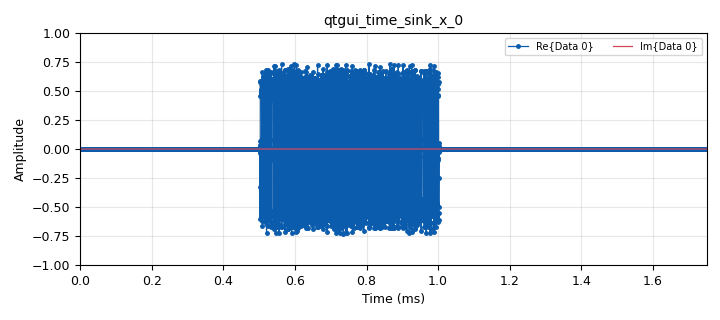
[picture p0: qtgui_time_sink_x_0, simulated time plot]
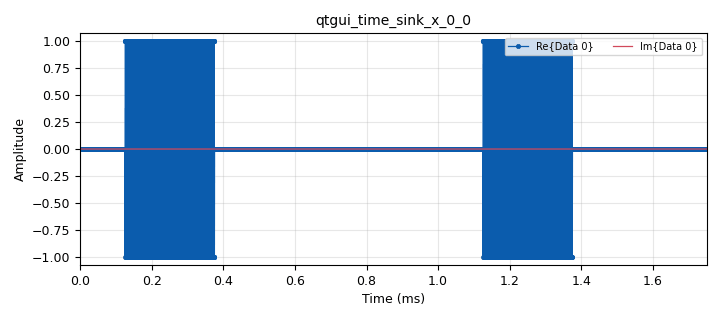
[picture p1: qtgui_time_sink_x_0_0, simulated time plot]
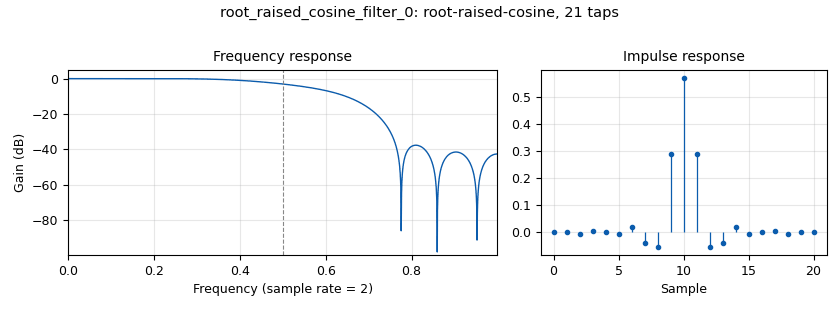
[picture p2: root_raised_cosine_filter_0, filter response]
<?xml version='1.0' encoding='utf-8'?>
<?grc format='1' created='3.7.13'?>
<flow_graph>
<block>
<key>options</key>
<param><key>id</key><value>tx_1n</value></param>
<param><key>generate_options</key><value>qt_gui</value></param>
<param><key>run_options</key><value>run</value></param>
</block>
<block>
<key>variable</key>
<param><key>id</key><value>center_freq</value></param>
<param><key>value</key><value>2.35e9</value></param>
</block>
<block>
<key>variable</key>
<param><key>id</key><value>num_prn</value></param>
<param><key>value</key><value>1000</value></param>
</block>
<block>
<key>variable</key>
<param><key>id</key><value>num_zeros</value></param>
<param><key>value</key><value>3000</value></param>
</block>
<block>
<key>variable</key>
<param><key>id</key><value>roll_off</value></param>
<param><key>value</key><value>0.5</value></param>
</block>
<block>
<key>variable</key>
<param><key>id</key><value>samp_rate</value></param>
<param><key>value</key><value>200e6/50</value></param>
</block>
<block>
<key>variable</key>
<param><key>id</key><value>span</value></param>
<param><key>value</key><value>10</value></param>
</block>
<block>
<key>variable</key>
<param><key>id</key><value>sps</value></param>
<param><key>value</key><value>2</value></param>
</block>
<block>
<key>variable_qtgui_range</key>
<param><key>id</key><value>tx_gain</value></param>
<param><key>value</key><value>10</value></param>
<param><key>label</key><value>Gain</value></param>
<param><key>orient</key><value>Qt.Horizontal</value></param>
<param><key>start</key><value>0</value></param>
<param><key>step</key><value>1</value></param>
<param><key>stop</key><value>31</value></param>
</block>
<block>
<key>variable</key>
<param><key>id</key><value>tx_gain</value></param>
<param><key>_enabled</key><value>0</value></param>
<param><key>value</key><value>25</value></param>
</block>
<block>
<key>blocks_vector_source_x</key>
<param><key>id</key><value>blocks_vector_source_x_0</value></param>
<param><key>type</key><value>complex</value></param>
<param><key>repeat</key><value>True</value></param>
<param><key>vector</key><value>list(np.zeros(int(num_zeros/2)))+list(2*np.random.randint(0,2,size=num_prn)-1)+list(np.zeros(int(num_zeros/2)))</value></param>
</block>
<block>
<key>import</key>
<param><key>id</key><value>import_0</value></param>
<param><key>import</key><value>import numpy as np</value></param>
</block>
<block>
<key>qtgui_time_sink_x</key>
<param><key>id</key><value>qtgui_time_sink_x_0</value></param>
<param><key>color1</key><value>"blue"</value></param>
<param><key>label1</key><value></value></param>
<param><key>marker1</key><value>0</value></param>
<param><key>color2</key><value>"red"</value></param>
<param><key>label2</key><value></value></param>
<param><key>size</key><value>2*num_zeros+num_prn</value></param>
<param><key>srate</key><value>samp_rate</value></param>
<param><key>type</key><value>complex</value></param>
</block>
<block>
<key>qtgui_time_sink_x</key>
<param><key>id</key><value>qtgui_time_sink_x_0_0</value></param>
<param><key>color1</key><value>"blue"</value></param>
<param><key>label1</key><value></value></param>
<param><key>marker1</key><value>0</value></param>
<param><key>color2</key><value>"red"</value></param>
<param><key>label2</key><value></value></param>
<param><key>size</key><value>2*num_zeros+num_prn</value></param>
<param><key>srate</key><value>samp_rate</value></param>
<param><key>type</key><value>complex</value></param>
</block>
<block>
<key>root_raised_cosine_filter</key>
<param><key>id</key><value>root_raised_cosine_filter_0</value></param>
<param><key>alpha</key><value>roll_off</value></param>
<param><key>type</key><value>interp_fir_filter_ccf</value></param>
<param><key>gain</key><value>1</value></param>
<param><key>interp</key><value>sps</value></param>
<param><key>ntaps</key><value>sps*span</value></param>
<param><key>samp_rate</key><value>sps</value></param>
<param><key>sym_rate</key><value>1</value></param>
</block>
<block>
<key>uhd_usrp_sink</key>
<param><key>id</key><value>uhd_usrp_sink_0</value></param>
<param><key>ant0</key><value>TX/RX</value></param>
<param><key>center_freq0</key><value>center_freq</value></param>
<param><key>norm_gain0</key><value>False</value></param>
<param><key>gain0</key><value>tx_gain</value></param>
<param><key>clock_rate</key><value>0.0</value></param>
<param><key>dev_addr</key><value>"addr0=192.168.13.2"</value></param>
<param><key>dev_args</key><value>""</value></param>
<param><key>type</key><value>fc32</value></param>
<param><key>samp_rate</key><value>samp_rate</value></param>
<param><key>hide_cmd_port</key><value>False</value></param>
<param><key>hide_lo_controls</key><value>True</value></param>
<param><key>sync</key><value></value></param>
<param><key>len_tag_name</key><value></value></param>
</block>
<connection><source_block_id>blocks_vector_source_x_0</source_block_id><sink_block_id>qtgui_time_sink_x_0_0</sink_block_id><source_key>0</source_key><sink_key>0</sink_key></connection>
<connection><source_block_id>blocks_vector_source_x_0</source_block_id><sink_block_id>root_raised_cosine_filter_0</sink_block_id><source_key>0</source_key><sink_key>0</sink_key></connection>
<connection><source_block_id>root_raised_cosine_filter_0</source_block_id><sink_block_id>qtgui_time_sink_x_0</sink_block_id><source_key>0</source_key><sink_key>0</sink_key></connection>
<connection><source_block_id>root_raised_cosine_filter_0</source_block_id><sink_block_id>uhd_usrp_sink_0</sink_block_id><source_key>0</source_key><sink_key>0</sink_key></connection>
</flow_graph>
